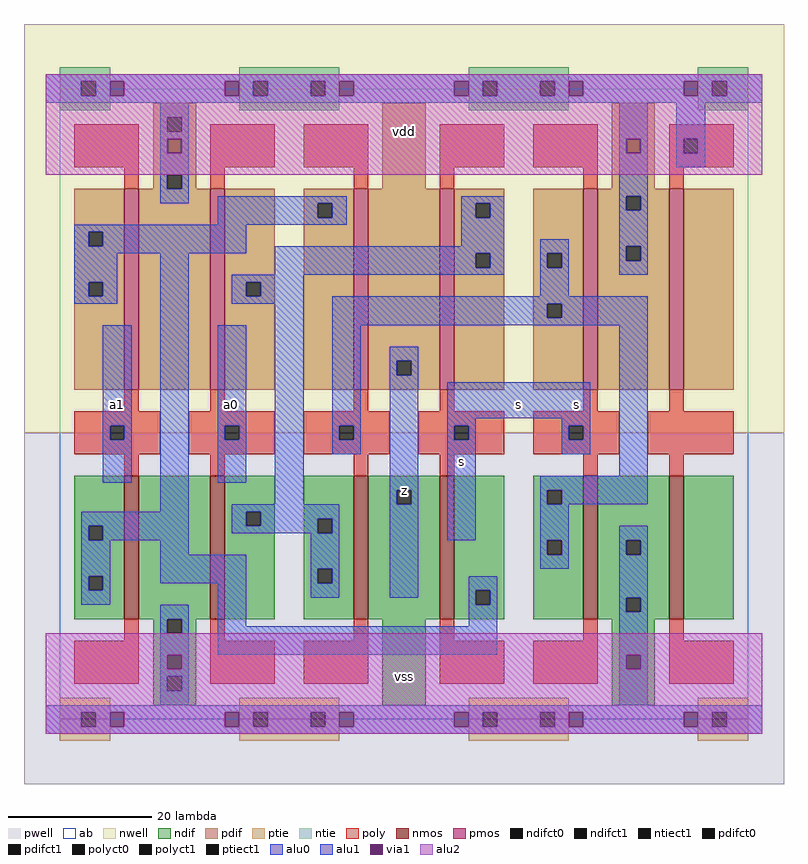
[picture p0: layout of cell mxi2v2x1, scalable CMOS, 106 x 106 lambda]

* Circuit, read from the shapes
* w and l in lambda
.subckt mxi2v2x1 a0 a1 s vdd vss z
M1 vss a1 n1 vss nfet w=20 l=2
M2 n2 a0 vss vss nfet w=20 l=2
M3 z n3 n2 vss nfet w=20 l=2
M4 n1 s z vss nfet w=20 l=2
M5 vss s n3 vss nfet w=20 l=2
M6 n4 vdd vss vss nfet w=20 l=2
M7 vdd a1 n1 vdd pfet w=28 l=2
M8 n2 a0 vdd vdd pfet w=28 l=2
M9 z n3 n1 vdd pfet w=28 l=2
M10 n2 s z vdd pfet w=28 l=2
M11 vdd s n3 vdd pfet w=28 l=2
M12 n5 vdd vdd vdd pfet w=28 l=2
.ends

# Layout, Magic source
magic
tech scmos
<< ab >>
rect 0 0 96 88
<< nwell >>
rect -5 40 101 97
<< pwell >>
rect -5 -9 101 40
<< poly >>
rect 2 77 11 83
rect 9 74 11 77
rect 21 77 30 83
rect 34 77 43 83
rect 21 74 23 77
rect 41 74 43 77
rect 53 77 62 83
rect 66 77 75 83
rect 53 74 55 77
rect 73 74 75 77
rect 85 81 94 83
rect 85 79 87 81
rect 89 79 94 81
rect 85 77 94 79
rect 85 74 87 77
rect 9 43 11 46
rect 21 43 23 46
rect 41 43 43 46
rect 53 43 55 46
rect 73 43 75 46
rect 85 43 87 46
rect 2 41 14 43
rect 2 39 7 41
rect 9 39 14 41
rect 2 37 14 39
rect 18 41 30 43
rect 18 39 23 41
rect 25 39 30 41
rect 18 37 30 39
rect 34 41 46 43
rect 34 39 39 41
rect 41 39 46 41
rect 34 37 46 39
rect 50 41 62 43
rect 50 39 55 41
rect 57 39 62 41
rect 50 37 62 39
rect 66 41 78 43
rect 66 39 71 41
rect 73 39 78 41
rect 66 37 78 39
rect 82 37 94 43
rect 9 34 11 37
rect 21 34 23 37
rect 41 34 43 37
rect 53 34 55 37
rect 73 34 75 37
rect 85 34 87 37
rect 9 11 11 14
rect 2 5 11 11
rect 21 11 23 14
rect 41 11 43 14
rect 21 5 30 11
rect 34 5 43 11
rect 53 11 55 14
rect 73 11 75 14
rect 53 5 62 11
rect 66 5 75 11
rect 85 11 87 14
rect 85 5 94 11
<< ndif >>
rect 2 27 9 34
rect 2 25 4 27
rect 6 25 9 27
rect 2 20 9 25
rect 2 18 4 20
rect 6 18 9 20
rect 2 14 9 18
rect 11 14 21 34
rect 23 29 30 34
rect 23 27 26 29
rect 28 27 30 29
rect 23 14 30 27
rect 34 28 41 34
rect 34 26 36 28
rect 38 26 41 28
rect 34 21 41 26
rect 34 19 36 21
rect 38 19 41 21
rect 34 14 41 19
rect 43 32 53 34
rect 43 30 47 32
rect 49 30 53 32
rect 43 14 53 30
rect 55 18 62 34
rect 55 16 58 18
rect 60 16 62 18
rect 55 14 62 16
rect 66 32 73 34
rect 66 30 68 32
rect 70 30 73 32
rect 66 25 73 30
rect 66 23 68 25
rect 70 23 73 25
rect 66 14 73 23
rect 75 25 85 34
rect 75 23 79 25
rect 81 23 85 25
rect 75 17 85 23
rect 75 15 79 17
rect 81 15 85 17
rect 75 14 85 15
rect 87 14 94 34
rect 13 12 15 14
rect 17 12 19 14
rect 13 6 19 12
rect 13 4 15 6
rect 17 4 19 6
rect 13 2 19 4
rect 45 2 51 14
rect 77 2 83 14
<< pdif >>
rect 13 84 19 86
rect 13 82 15 84
rect 17 82 19 84
rect 13 76 19 82
rect 13 74 15 76
rect 17 74 19 76
rect 45 74 51 86
rect 77 74 83 86
rect 2 68 9 74
rect 2 66 4 68
rect 6 66 9 68
rect 2 61 9 66
rect 2 59 4 61
rect 6 59 9 61
rect 2 46 9 59
rect 11 46 21 74
rect 23 61 30 74
rect 23 59 26 61
rect 28 59 30 61
rect 23 46 30 59
rect 34 72 41 74
rect 34 70 36 72
rect 38 70 41 72
rect 34 46 41 70
rect 43 50 53 74
rect 43 48 47 50
rect 49 48 53 50
rect 43 46 53 48
rect 55 72 62 74
rect 55 70 58 72
rect 60 70 62 72
rect 55 65 62 70
rect 55 63 58 65
rect 60 63 62 65
rect 55 46 62 63
rect 66 65 73 74
rect 66 63 68 65
rect 70 63 73 65
rect 66 58 73 63
rect 66 56 68 58
rect 70 56 73 58
rect 66 46 73 56
rect 75 73 85 74
rect 75 71 79 73
rect 81 71 85 73
rect 75 66 85 71
rect 75 64 79 66
rect 81 64 85 66
rect 75 46 85 64
rect 87 46 94 74
<< alu1 >>
rect -2 89 98 90
rect -2 87 3 89
rect 5 87 7 89
rect 9 87 23 89
rect 25 87 27 89
rect 29 87 35 89
rect 37 87 39 89
rect 41 87 55 89
rect 57 87 59 89
rect 61 87 67 89
rect 69 87 71 89
rect 73 87 87 89
rect 89 87 91 89
rect 93 87 98 89
rect -2 86 98 87
rect 14 84 18 86
rect 14 82 15 84
rect 17 82 18 84
rect 14 81 18 82
rect 14 79 15 81
rect 17 79 18 81
rect 14 76 18 79
rect 14 74 15 76
rect 17 74 18 76
rect 14 72 18 74
rect 78 81 82 86
rect 78 79 79 81
rect 81 79 82 81
rect 78 73 82 79
rect 86 81 90 86
rect 86 79 87 81
rect 89 79 90 81
rect 86 77 90 79
rect 78 71 79 73
rect 81 71 82 73
rect 6 41 10 55
rect 6 39 7 41
rect 9 39 10 41
rect 6 33 10 39
rect 78 66 82 71
rect 78 64 79 66
rect 81 64 82 66
rect 78 62 82 64
rect 22 41 26 55
rect 22 39 23 41
rect 25 39 26 41
rect 22 33 26 39
rect 46 50 50 52
rect 46 48 47 50
rect 49 48 50 50
rect 46 32 50 48
rect 46 30 47 32
rect 49 30 50 32
rect 14 14 18 16
rect 14 12 15 14
rect 17 12 18 14
rect 14 9 18 12
rect 46 17 50 30
rect 54 42 74 47
rect 54 41 58 42
rect 54 39 55 41
rect 57 39 58 41
rect 54 25 58 39
rect 70 41 74 42
rect 70 39 71 41
rect 73 39 74 41
rect 70 37 74 39
rect 78 25 82 27
rect 78 23 79 25
rect 81 23 82 25
rect 78 17 82 23
rect 78 15 79 17
rect 81 15 82 17
rect 78 9 82 15
rect 14 7 15 9
rect 17 7 18 9
rect 14 6 18 7
rect 14 4 15 6
rect 17 4 18 6
rect 14 2 18 4
rect 78 7 79 9
rect 81 7 82 9
rect 78 2 82 7
rect -2 1 98 2
rect -2 -1 3 1
rect 5 -1 7 1
rect 9 -1 23 1
rect 25 -1 27 1
rect 29 -1 35 1
rect 37 -1 39 1
rect 41 -1 55 1
rect 57 -1 59 1
rect 61 -1 67 1
rect 69 -1 71 1
rect 73 -1 87 1
rect 89 -1 91 1
rect 93 -1 98 1
rect -2 -2 98 -1
<< alu2 >>
rect -2 89 98 90
rect -2 87 7 89
rect 9 87 23 89
rect 25 87 39 89
rect 41 87 55 89
rect 57 87 71 89
rect 73 87 87 89
rect 89 87 98 89
rect -2 81 98 87
rect -2 79 15 81
rect 17 79 79 81
rect 81 79 98 81
rect -2 76 98 79
rect -2 9 98 12
rect -2 7 15 9
rect 17 7 79 9
rect 81 7 98 9
rect -2 1 98 7
rect -2 -1 7 1
rect 9 -1 23 1
rect 25 -1 39 1
rect 41 -1 55 1
rect 57 -1 71 1
rect 73 -1 87 1
rect 89 -1 98 1
rect -2 -2 98 -1
<< ptie >>
rect 0 1 7 3
rect 0 -1 3 1
rect 5 -1 7 1
rect 0 -3 7 -1
rect 25 1 39 3
rect 25 -1 27 1
rect 29 -1 35 1
rect 37 -1 39 1
rect 25 -3 39 -1
rect 57 1 71 3
rect 57 -1 59 1
rect 61 -1 67 1
rect 69 -1 71 1
rect 57 -3 71 -1
rect 89 1 96 3
rect 89 -1 91 1
rect 93 -1 96 1
rect 89 -3 96 -1
<< ntie >>
rect 0 89 7 91
rect 0 87 3 89
rect 5 87 7 89
rect 0 85 7 87
rect 25 89 39 91
rect 25 87 27 89
rect 29 87 35 89
rect 37 87 39 89
rect 25 85 39 87
rect 57 89 71 91
rect 57 87 59 89
rect 61 87 67 89
rect 69 87 71 89
rect 57 85 71 87
rect 89 89 96 91
rect 89 87 91 89
rect 93 87 96 89
rect 89 85 96 87
<< nmos >>
rect 9 14 11 34
rect 21 14 23 34
rect 41 14 43 34
rect 53 14 55 34
rect 73 14 75 34
rect 85 14 87 34
<< pmos >>
rect 9 46 11 74
rect 21 46 23 74
rect 41 46 43 74
rect 53 46 55 74
rect 73 46 75 74
rect 85 46 87 74
<< polyct0 >>
rect 39 39 41 41
<< polyct1 >>
rect 87 79 89 81
rect 7 39 9 41
rect 23 39 25 41
rect 55 39 57 41
rect 71 39 73 41
<< ndifct0 >>
rect 4 25 6 27
rect 4 18 6 20
rect 26 27 28 29
rect 36 26 38 28
rect 36 19 38 21
rect 58 16 60 18
rect 68 30 70 32
rect 68 23 70 25
<< ndifct1 >>
rect 47 30 49 32
rect 79 23 81 25
rect 79 15 81 17
rect 15 12 17 14
rect 15 4 17 6
<< ntiect1 >>
rect 3 87 5 89
rect 27 87 29 89
rect 35 87 37 89
rect 59 87 61 89
rect 67 87 69 89
rect 91 87 93 89
<< ptiect1 >>
rect 3 -1 5 1
rect 27 -1 29 1
rect 35 -1 37 1
rect 59 -1 61 1
rect 67 -1 69 1
rect 91 -1 93 1
<< pdifct0 >>
rect 4 66 6 68
rect 4 59 6 61
rect 26 59 28 61
rect 36 70 38 72
rect 58 70 60 72
rect 58 63 60 65
rect 68 63 70 65
rect 68 56 70 58
<< pdifct1 >>
rect 15 82 17 84
rect 15 74 17 76
rect 47 48 49 50
rect 79 71 81 73
rect 79 64 81 66
<< alu0 >>
rect 22 72 40 73
rect 22 70 36 72
rect 38 70 40 72
rect 22 69 40 70
rect 56 72 62 73
rect 56 70 58 72
rect 60 70 62 72
rect 2 68 26 69
rect 2 66 4 68
rect 6 66 26 68
rect 56 66 62 70
rect 2 65 26 66
rect 30 65 62 66
rect 2 61 8 65
rect 2 59 4 61
rect 6 59 8 61
rect 2 58 8 59
rect 14 29 18 65
rect 30 63 58 65
rect 60 63 62 65
rect 30 62 62 63
rect 67 65 71 67
rect 67 63 68 65
rect 70 63 71 65
rect 24 61 34 62
rect 24 59 26 61
rect 28 59 34 61
rect 67 59 71 63
rect 24 58 34 59
rect 30 30 34 58
rect 38 58 82 59
rect 38 56 68 58
rect 70 56 82 58
rect 38 55 82 56
rect 38 41 42 55
rect 38 39 39 41
rect 41 39 42 41
rect 38 37 42 39
rect 3 27 18 29
rect 3 25 4 27
rect 6 25 18 27
rect 24 29 39 30
rect 24 27 26 29
rect 28 28 39 29
rect 28 27 36 28
rect 24 26 36 27
rect 38 26 39 28
rect 3 20 7 25
rect 3 18 4 20
rect 6 18 7 20
rect 14 23 18 25
rect 14 19 26 23
rect 3 16 7 18
rect 22 13 26 19
rect 35 21 39 26
rect 35 19 36 21
rect 38 19 39 21
rect 35 17 39 19
rect 78 34 82 55
rect 67 32 82 34
rect 67 30 68 32
rect 70 30 82 32
rect 67 25 71 30
rect 67 23 68 25
rect 70 23 71 25
rect 67 21 71 23
rect 57 18 61 20
rect 57 16 58 18
rect 60 16 61 18
rect 57 13 61 16
rect 22 9 61 13
<< via1 >>
rect 7 87 9 89
rect 23 87 25 89
rect 39 87 41 89
rect 55 87 57 89
rect 71 87 73 89
rect 87 87 89 89
rect 15 79 17 81
rect 79 79 81 81
rect 15 7 17 9
rect 79 7 81 9
rect 7 -1 9 1
rect 23 -1 25 1
rect 39 -1 41 1
rect 55 -1 57 1
rect 71 -1 73 1
rect 87 -1 89 1
<< labels >>
rlabel alu1 8 44 8 44 6 a1
rlabel alu1 24 44 24 44 6 a0
rlabel alu1 48 32 48 32 6 z
rlabel alu1 56 36 56 36 6 s
rlabel alu1 64 44 64 44 6 s
rlabel alu1 72 44 72 44 6 s
rlabel alu2 48 6 48 6 6 vss
rlabel alu2 48 82 48 82 6 vdd
<< end >>
